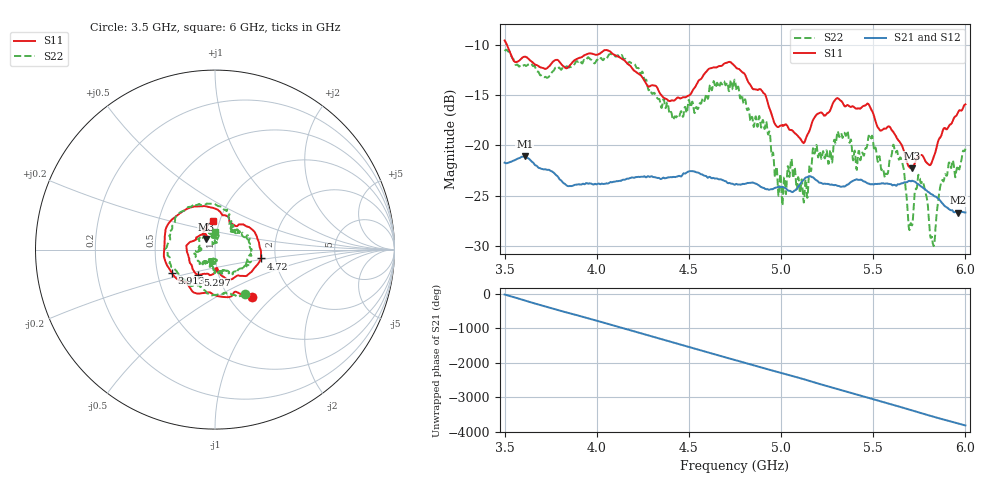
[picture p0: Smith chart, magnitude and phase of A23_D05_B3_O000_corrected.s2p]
! Created with skrf 1.9.0 (http://scikit-rf.org).
# Hz S RI R 50.0
!freq ReS11 ImS11 ReS21 ImS21 ReS12 ImS12 ReS22 ImS22
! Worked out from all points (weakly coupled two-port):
!   1601 points, 3.5 GHz to 6 GHz, reference 50 ohm
!   highest |S21| = -21.10 dB at 3.609 GHz (marker M1); lowest = -26.7 dB at 5.961 GHz (marker M2)
!   lowest |S11| = -22.3 dB at 5.709 GHz (marker M3), VSWR 1.17, Z = 45 + j5.31 ohm
!   |S11| at or under -10 dB: 3.513 GHz to end of sweep
!   |S22| runs from -30.0 to -10.5 dB; largest |S21 - S12| = 0.00094
!   S11 on the Smith chart (normalised r, x): 3.5 GHz: 1.26, -0.75; 3.913 GHz: 0.59, -0.16; 4.72 GHz: 1.67, -0.18; 5.297 GHz: 0.79, -0.23; 6 GHz: 0.93, +0.31
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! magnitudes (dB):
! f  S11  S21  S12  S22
! 3.5 GHz  -9.6  -21.7  -21.7  -10.5
! 3.609 GHz  -11.2  -21.1  -21.1  -12.0
! 3.913 GHz  -11.3  -23.9  -23.9  -11.6
! 3.917 GHz  -11.2  -23.9  -23.9  -11.8
! 4.142 GHz  -11.5  -23.4  -23.4  -11.3
! 4.334 GHz  -14.5  -23.2  -23.2  -15.4
! 4.72 GHz  -11.7  -23.7  -23.8  -14.5
! 4.75 GHz  -12.1  -23.9  -23.8  -13.5
! 4.928 GHz  -15.8  -24.4  -24.3  -18.8
! 4.997 GHz  -18.0  -24.1  -24.1  -22.8
! 5.048 GHz  -18.5  -24.5  -24.5  -22.6
! 5.133 GHz  -19.4  -23.2  -23.2  -23.4
! 5.167 GHz  -17.8  -23.2  -23.1  -21.6
! 5.297 GHz  -15.4  -23.9  -23.9  -19.8
! 5.584 GHz  -18.1  -23.8  -23.8  -22.1
! 5.653 GHz  -19.9  -23.8  -23.7  -21.5
! 5.709 GHz  -22.3  -23.5  -23.5  -28.0
! 5.756 GHz  -21.0  -24.0  -24.0  -23.7
! 5.823 GHz  -21.4  -24.9  -24.9  -29.8
! 5.873 GHz  -18.8  -25.7  -25.7  -23.5
! 5.961 GHz  -16.7  -26.7  -26.6  -22.4
! 6 GHz  -15.9  -26.7  -26.6  -20.3
